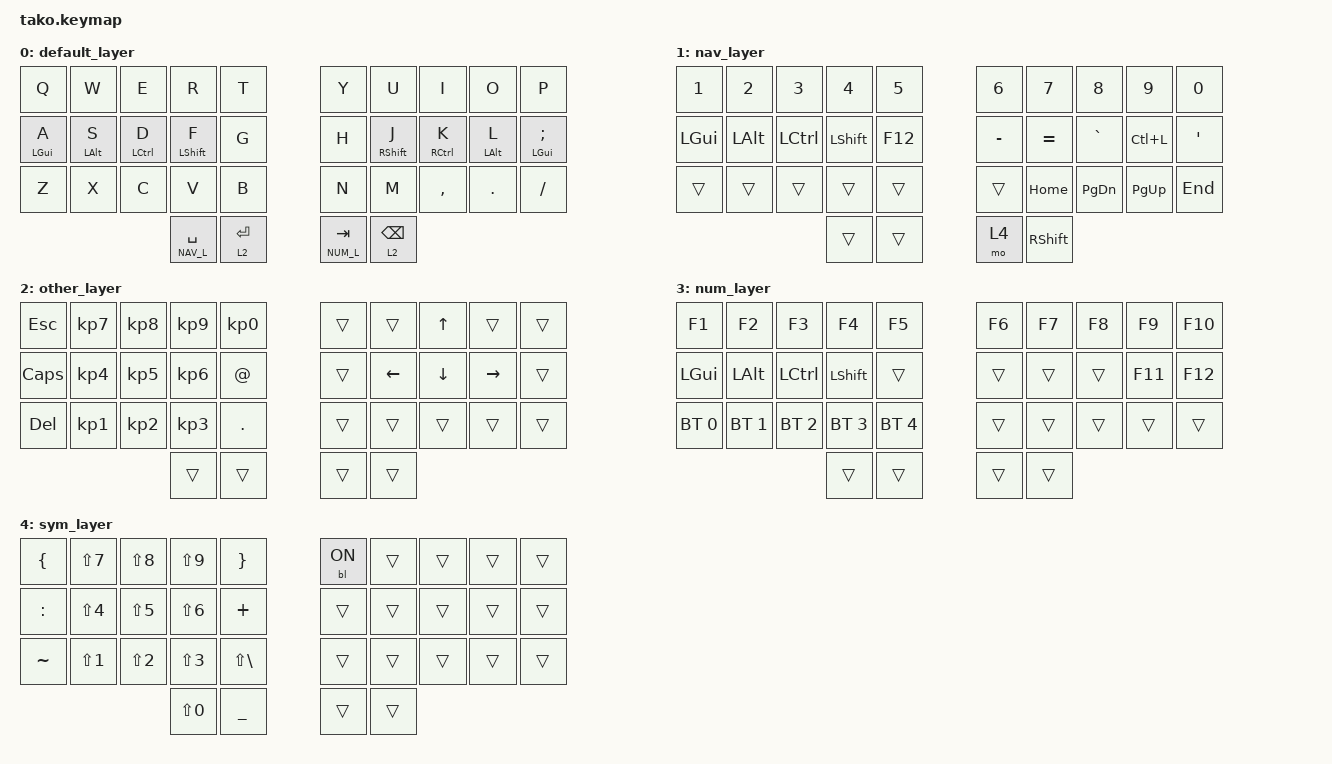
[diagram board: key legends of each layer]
/*
 * Copyright (c) 2020 The ZMK Contributors
 *
 * SPDX-License-Identifier: MIT
 */

#include <behaviors.dtsi>
#include <dt-bindings/zmk/backlight.h>
#include <dt-bindings/zmk/bt.h>
#include <dt-bindings/zmk/keys.h>

#define NAV_L 1
#define OTHER_L 2
#define NUM_L 3
#define SYM_L 4

// Using layer taps on thumbs, having quick tap as well helps w/ repeating space/backspace

&lt { quick_tap_ms = <200>; };

/ {
    behaviors {
        hm: homerow_mods {
            compatible = "zmk,behavior-hold-tap";
            label = "homerow mods";
            #binding-cells = <2>;
            tapping_term_ms = <200>;
            flavor = "tap-preferred";
            bindings = <&kp>, <&kp>;
        };
    };

    combos {
        compatible = "zmk,combos";

        left_bkt {
            bindings = <&kp LEFT_BRACKET>;
            key-positions = <2 3>;
        };

        right_bkt {
            bindings = <&kp RBKT>;
            key-positions = <7 6>;
        };

        left_par {
            bindings = <&kp LPAR>;
            key-positions = <13 12>;
        };

        right_par {
            bindings = <&kp RPAR>;
            key-positions = <16 17>;
        };

        left_brc {
            bindings = <&kp LBRC>;
            key-positions = <22 23>;
        };

        right_brc {
            bindings = <&kp RBRC>;
            key-positions = <26 27>;
        };

        blsh {
            bindings = <&kp BSLH>;
            key-positions = <4 5>;
        };

        pipe {
            bindings = <&kp PIPE>;
            key-positions = <14 15>;
        };
    };

    keymap {
        compatible = "zmk,keymap";

        default_layer {
            bindings = <
&kp Q       &kp W       &kp E        &kp R            &kp T          &kp Y          &kp U            &kp I        &kp O       &kp P
&hm LGUI A  &hm LALT S  &hm LCTRL D  &hm LSHFT F      &kp G          &kp H          &hm RSHFT J      &hm RCTRL K  &hm LALT L  &hm LGUI SEMI
&kp Z       &kp X       &kp C        &kp V            &kp B          &kp N          &kp M            &kp COMMA    &kp DOT     &kp FSLH
                                     &lt NAV_L SPACE  &lt 2 ENTER    &lt NUM_L TAB  &lt 2 BACKSPACE
            >;
        };

        nav_layer {
            bindings = <
&kp NUMBER_1  &kp NUMBER_2  &kp NUMBER_3  &kp NUMBER_4    &kp N5     &kp NUMBER_6  &kp N7     &kp N8     &kp N9     &kp N0
&kp LEFT_GUI  &kp LEFT_ALT  &kp LCTRL     &kp LEFT_SHIFT  &kp F12    &kp MINUS     &kp EQUAL  &kp GRAVE  &kp LC(L)  &kp SQT
&trans        &trans        &trans        &trans          &trans     &trans        &kp HOME   &kp PG_DN  &kp PG_UP  &kp END
                                          &trans          &trans     &mo 4         &kp RSHFT
            >;
        };

        other_layer {
            bindings = <
&kp ESC   &kp KP_NUMBER_7  &kp KP_NUMBER_8  &kp KP_NUMBER_9  &kp KP_NUMBER_0    &trans  &trans    &kp UP_ARROW    &trans     &trans
&kp CAPS  &kp KP_NUMBER_4  &kp KP_NUMBER_5  &kp KP_NUMBER_6  &kp AT_SIGN        &trans  &kp LEFT  &kp DOWN_ARROW  &kp RIGHT  &trans
&kp DEL   &kp KP_NUMBER_1  &kp KP_NUMBER_2  &kp KP_NUMBER_3  &kp DOT            &trans  &trans    &trans          &trans     &trans
                                            &trans           &trans             &trans  &trans
            >;
        };

        num_layer {
            bindings = <
&kp F1        &kp F2        &kp F3        &kp F4          &kp F5          &kp F6  &kp F7  &kp F8  &kp F9   &kp F10
&kp LEFT_GUI  &kp LEFT_ALT  &kp LCTRL     &kp LEFT_SHIFT  &trans          &trans  &trans  &trans  &kp F11  &kp F12
&bt BT_SEL 0  &bt BT_SEL 1  &bt BT_SEL 2  &bt BT_SEL 3    &bt BT_SEL 4    &trans  &trans  &trans  &trans   &trans
                                          &trans          &trans          &trans  &trans
            >;
        };

        sym_layer {
            bindings = <
&kp LBRC   &kp LS(N7)  &kp LS(N8)  &kp LS(N9)  &kp RBRC        &bl BL_ON  &trans  &trans  &trans  &trans
&kp COLON  &kp LS(N4)  &kp LS(N5)  &kp LS(N6)  &kp PLUS        &trans     &trans  &trans  &trans  &trans
&kp TILDE  &kp LS(N1)  &kp LS(N2)  &kp LS(N3)  &kp LS(BSLH)    &trans     &trans  &trans  &trans  &trans
                                   &kp LS(N0)  &kp UNDER       &trans     &trans
            >;
        };
    };
};
